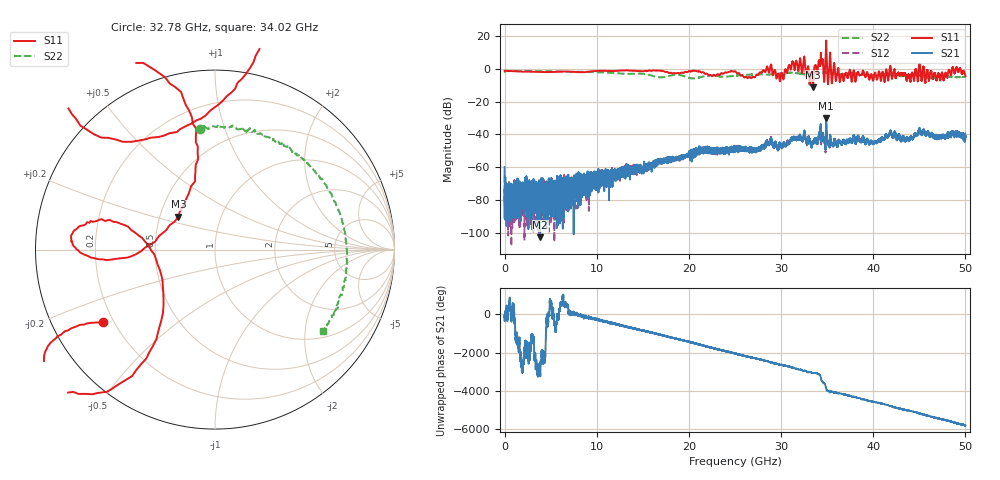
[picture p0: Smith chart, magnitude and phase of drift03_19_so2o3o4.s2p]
!Created with skrf (http://scikit-rf.org).
# Hz S RI R 50.0
!freq ReS11 ImS11 ReS21 ImS21 ReS12 ImS12 ReS22 ImS22
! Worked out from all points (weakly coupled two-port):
!   10001 points, 300 kHz to 50 GHz, reference 50 ohm
!   highest |S21| = -30.27 dB at 34.89 GHz (marker M1); lowest = -102.9 dB at 3.85 GHz (marker M2)
!   lowest |S11| = -11.2 dB at 33.47 GHz (marker M3), VSWR 1.75, Z = 31.2 + j12.4 ohm
!   |S11| at or under -10 dB: 33.44651 GHz to 33.48706 GHz (40.55 MHz wide, 0.121 % of centre)
!   |S22| runs from -5.9 to -1.3 dB; largest |S21 - S12| = 0.0083
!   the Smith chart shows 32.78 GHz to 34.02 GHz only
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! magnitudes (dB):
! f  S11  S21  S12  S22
! 300 kHz  -1.3  -60.0  -65.0  -2.0
! 275.3 MHz  -1.3  -76.5  -74.6  -1.4
! 3.85 GHz  -2.0  -102.9  -77.8  -1.6
! 8.335 GHz  -2.2  -75.3  -77.9  -1.9
! 16.67 GHz  -1.1  -56.0  -56.9  -5.2
! 25 GHz  -1.5  -48.0  -49.1  -4.3
! 26.92 GHz  -4.9  -49.6  -49.8  -3.6
! 28.73 GHz  -2.2  -45.1  -44.8  -3.5
! 30.06 GHz  -2.5  -47.4  -47.7  -2.9
! 31.87 GHz  -1.5  -42.2  -41.7  -2.9
! 33.34 GHz  -2.2  -46.8  -47.3  -2.9
! 33.47 GHz  -11.2  -44.4  -44.8  -2.8
! 34.3 GHz  7.2  -33.7  -35.3  -2.3
! 34.89 GHz  17.0  -30.3  -32.4  -2.4
! 36.58 GHz  -3.4  -46.6  -46.2  -3.6
! 40.16 GHz  -2.9  -44.4  -44.2  -3.7
! 41.67 GHz  -5.7  -41.0  -40.4  -3.7
! 43.84 GHz  -3.9  -43.5  -43.9  -3.9
! 45.21 GHz  -6.6  -39.5  -38.8  -4.6
! 47.06 GHz  -3.2  -41.5  -41.6  -5.1
! 48.84 GHz  -2.8  -39.6  -40.0  -5.1
! 50 GHz  -4.5  -41.4  -43.5  -5.0
